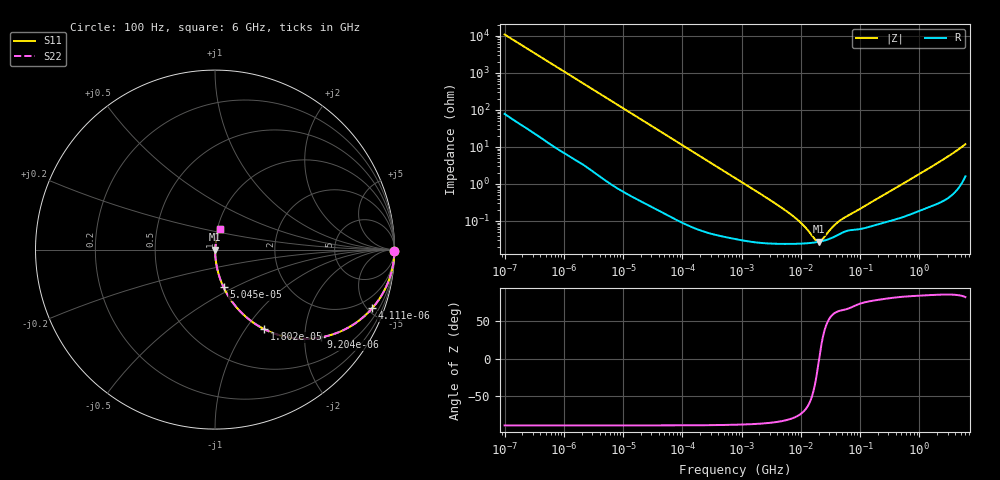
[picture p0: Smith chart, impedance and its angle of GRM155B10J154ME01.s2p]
!Murata Part Number: GRM155B10J154ME01
!These Parameters are Measured in Series Mode Connection
!Data Generated on Mar 30, 2021
!  o--ll--o
!Port1  Port2
!  o------o
!Operation Temp=25[degC], DC Bias Voltage=0[V]
!Freq. Start=100[Hz] Stop=6[GHz] 401[Steps]
# Hz S RI R 50
!Freq.(Hz) S11(Real) S11(Imag) S21(Real) S21(Imag) S12(Real) S12(Imag) S22(Real) S22(Imag)
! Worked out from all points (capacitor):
!   401 points, 100 Hz to 6 GHz, reference 50 ohm
!   read as one part in series: C = 146 nF near 109 Hz
!   lowest |Z| = 27.3 mohm at 20.35 MHz (marker M1)
!   series resonance near 20.42 MHz, so ESL is about 420 pH
!   S11 on the Smith chart (normalised r, x): 100 Hz: open; 4.111 kHz: 1.03, -5.36; 9.204 kHz: 1.01, -2.40; 18.02 kHz: 1.01, -1.23; 50.45 kHz: 1.00, -0.44; 6 GHz: 1.03, +0.23
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100  0.9998 -0.00921  0.000151 0.00921  0.000151 0.00921  0.9998 -0.00921
600  0.9967 -0.0546  0.00334 0.0546  0.00334 0.0546  0.9967 -0.0546
2008  0.9666 -0.1764  0.0334 0.1764  0.0334 0.1764  0.9666 -0.1764
4111  0.8765 -0.3262  0.1235 0.3262  0.1235 0.3262  0.8765 -0.3262
6151  0.7617 -0.4233  0.2383 0.4233  0.2383 0.4233  0.7617 -0.4233
9204  0.5899 -0.4891  0.4101 0.4891  0.4101 0.4891  0.5899 -0.4891
18016  0.2754 -0.4437  0.7246 0.4437  0.7246 0.4437  0.2754 -0.4437
40335  0.072 -0.2551  0.928 0.2551  0.928 0.2551  0.072 -0.2551
50455  0.0476 -0.2095  0.9524 0.2095  0.9524 0.2095  0.0476 -0.2095
154540  0.00583 -0.0718  0.9942 0.0718  0.9942 0.0718  0.00583 -0.0718
774597  0.000534 -0.0145  0.9995 0.0145  0.9995 0.0145  0.000534 -0.0145
6353432  0.000241 -0.0016  0.9998 0.0016  0.9998 0.0016  0.000241 -0.0016
1.039699e7  0.000244 -0.000803  0.9998 0.000803  0.9998 0.000803  0.000244 -0.000803
1.555665e7  0.000256 -0.000303  0.9997 0.000303  0.9997 0.000303  0.000256 -0.000303
1.779312e7  0.000263 -0.000152  0.9997 0.000152  0.9997 0.000152  0.000263 -0.000152
2.035112e7  0.000273 -3.5e-06  0.9997 3.5e-06  0.9997 3.5e-06  0.000273 -3.5e-06
2.327686e7  0.000286 0.000144  0.9997 -0.000144  0.9997 -0.000144  0.000286 0.000144
3.482834e7  0.000357 0.000597  0.9996 -0.000597  0.9996 -0.000597  0.000357 0.000597
4.764863e7  0.000461 0.00096  0.9995 -0.00096  0.9995 -0.00096  0.000461 0.00096
3.124326e8  0.00102 0.00604  0.999 -0.00604  0.999 -0.00604  0.00102 0.00604
1.95892e9  0.00404 0.0349  0.996 -0.0349  0.996 -0.0349  0.00404 0.0349
6e9  0.0287 0.1121  0.9713 -0.1121  0.9713 -0.1121  0.0287 0.1121
